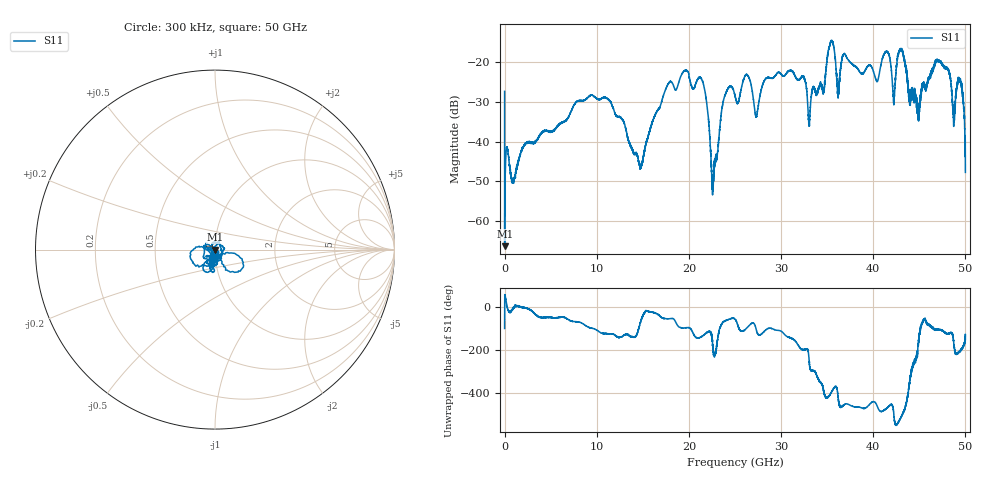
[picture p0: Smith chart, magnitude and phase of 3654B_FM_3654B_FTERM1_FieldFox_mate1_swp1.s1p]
!Created with skrf (http://scikit-rf.org).
# Hz S RI R 50.0
!freq ReS11 ImS11
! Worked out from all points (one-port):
!   10001 points, 300 kHz to 50 GHz, reference 50 ohm
!   lowest |S11| = -66.3 dB at 5.3 MHz (marker M1), VSWR 1.00, Z = 50 - j0.0231 ohm
!   |S11| at or under -10 dB: start of sweep to end of sweep
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300000  -0.00713 -0.0421
5299970  0.000425 -0.00023
9.352944e8  0.00334 -0.000187
6.250262e9  0.0119 -0.0127
9.415244e9  -0.00521 -0.038
1.250022e10  -0.0158 -0.0128
1.478021e10  0.00188 -0.00453
1.875019e10  0.00474 -0.0484
2.144517e10  -0.042 -0.0403
2.264016e10  -0.00248 0.00132
2.386016e10  0.0151 -0.0336
2.500015e10  0.0214 -0.0316
2.634014e10  -0.00581 -0.0685
2.732514e10  -0.00665 -0.0194
3.125011e10  -0.0645 -0.0393
3.30651e10  -0.00248 0.0161
3.540509e10  0.136 -0.1233
3.619508e10  0.0182 -0.033
3.750008e10  -0.0143 -0.0977
4.148005e10  -0.0495 -0.1266
4.223505e10  -0.0264 -0.0214
4.301004e10  -0.1283 -0.0592
4.375004e10  0.0376 -0.0399
4.492003e10  -0.0229 -0.0104
4.715502e10  -0.024 -0.099
4.875001e10  -0.0191 0.000515
4.938e10  -0.0521 0.0312
5e10  -0.00359 -0.00197
